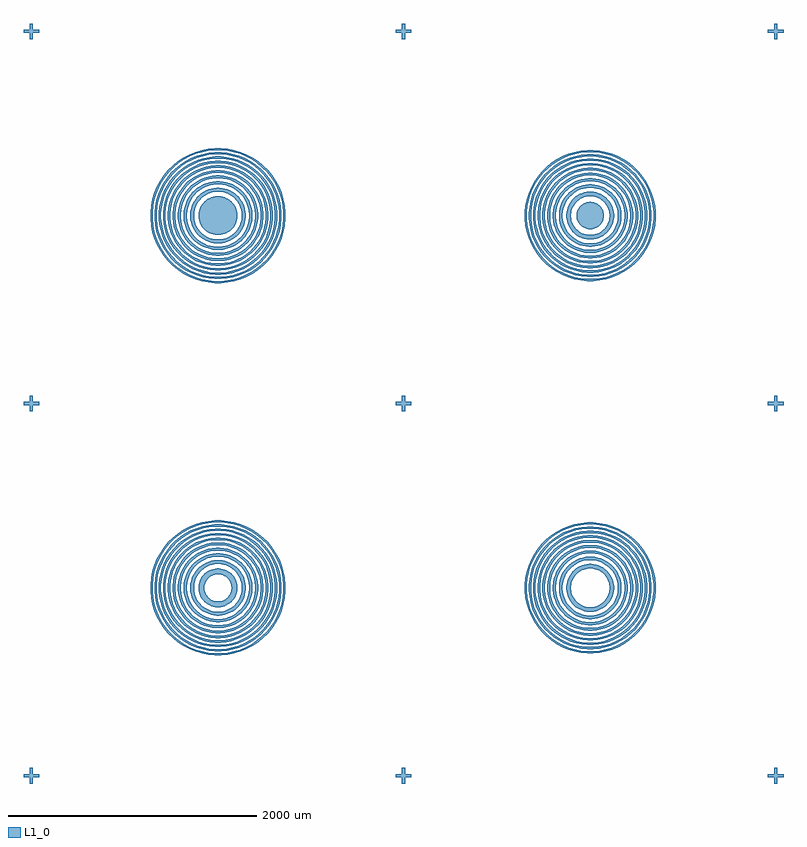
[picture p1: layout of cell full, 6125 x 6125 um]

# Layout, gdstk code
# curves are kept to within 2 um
import gdstk
lib = gdstk.Library(unit=1e-6, precision=1e-09)
def P(c, l, *ps):  # polygons
    for p in ps: c.add(gdstk.Polygon(p, *l))
L1_0 = (1, 0)

donut = lib.new_cell('DONUT')
P(donut, L1_0, [(-10.984,-223.589),(-54.393,-217.15),(-95.712,-202.366),(-133.352,-179.805),(-165.868,-150.334),(-192.01,-115.086),(-210.773,-75.416),(-221.436,-32.847),(-223.589,0),(-192.528,0),(-186.984,-46.837),(-165.336,-99.099),(-142.826,-129.45),(-99.099,-165.336),(-64.939,-181.492),(-28.284,-190.674),(28.284,-190.674),(64.939,-181.492),(114.827,-154.827),(142.826,-129.45),(165.336,-99.099),(186.984,-46.837),(192.528,-9.458),(186.984,46.837),(165.336,99.099),(142.826,129.45),(99.099,165.336),(46.837,186.984),(-9.458,192.528),(-64.939,181.492),(-114.827,154.827),(-154.827,114.827),(-181.492,64.939),(-190.674,28.284),(-192.528,0),(-223.589,0),(-223.589,10.984),(-217.15,54.393),(-202.366,95.712),(-179.805,133.352),(-150.334,165.868),(-115.086,192.01),(-75.416,210.773),(-32.847,221.436),(10.984,223.589),(54.393,217.15),(95.712,202.366),(133.352,179.805),(165.868,150.334),(192.01,115.086),(210.773,75.416),(221.436,32.847),(223.589,-10.984),(217.15,-54.393),(202.366,-95.712),(179.805,-133.352),(150.334,-165.868),(115.086,-192.01),(75.416,-210.773),(32.847,-221.436)])

donut_2 = lib.new_cell('DONUT$2')
P(donut_2, L1_0, [(-13.605,-276.94),(-67.372,-268.964),(-118.55,-250.652),(-165.172,-222.708),(-205.446,-186.205),(-237.825,-142.547),(-261.065,-93.411),(-274.272,-40.684),(-276.94,0),(-251.399,0),(-248.978,-36.932),(-236.989,-84.796),(-227.536,-107.617),(-202.169,-149.939),(-169.033,-186.499),(-129.401,-215.892),(-84.796,-236.989),(-36.932,-248.978),(-12.35,-251.399),(36.932,-248.978),(84.796,-236.989),(107.617,-227.536),(149.939,-202.169),(186.499,-169.033),(202.169,-149.939),(227.536,-107.617),(244.159,-61.159),(251.399,-12.35),(248.978,36.932),(244.159,61.159),(227.536,107.617),(202.169,149.939),(186.499,169.033),(169.033,186.499),(129.401,215.892),(84.796,236.989),(61.159,244.159),(36.932,248.978),(-12.35,251.399),(-36.932,248.978),(-84.796,236.989),(-107.617,227.536),(-149.939,202.169),(-186.499,169.033),(-215.892,129.401),(-236.989,84.796),(-248.978,36.932),(-251.399,0),(-276.94,0),(-276.94,13.605),(-268.964,67.372),(-250.652,118.55),(-222.708,165.172),(-186.205,205.446),(-142.547,237.825),(-93.411,261.065),(-40.684,274.272),(13.605,276.94),(67.372,268.964),(118.55,250.652),(165.172,222.708),(205.446,186.205),(237.825,142.547),(261.065,93.411),(274.272,40.684),(276.94,-13.605),(268.964,-67.372),(250.652,-118.55),(222.708,-165.172),(186.205,-205.446),(142.547,-237.825),(93.411,-261.065),(40.684,-274.272)])

donut_4 = lib.new_cell('DONUT$4')
P(donut_4, L1_0, [(-15.884,-323.322),(-78.656,-314.011),(-138.405,-292.632),(-192.835,-260.008),(-239.855,-217.392),(-277.657,-166.421),(-304.789,-109.055),(-320.209,-47.498),(-323.322,0),(-300.789,0),(-297.892,-44.188),(-292.127,-73.174),(-283.548,-101.455),(-258.307,-154.823),(-223.139,-202.241),(-179.396,-241.888),(-154.823,-258.307),(-101.455,-283.548),(-73.174,-292.127),(-14.777,-300.789),(44.188,-297.892),(101.455,-283.548),(154.823,-258.307),(179.396,-241.888),(223.139,-202.241),(258.307,-154.823),(283.548,-101.455),(292.127,-73.174),(300.789,-14.777),(300.789,14.777),(292.127,73.174),(283.548,101.455),(258.307,154.823),(223.139,202.241),(179.396,241.888),(154.823,258.307),(101.455,283.548),(73.174,292.127),(14.777,300.789),(-14.777,300.789),(-73.174,292.127),(-101.455,283.548),(-154.823,258.307),(-179.396,241.888),(-223.139,202.241),(-258.307,154.823),(-283.548,101.455),(-297.892,44.188),(-300.789,0),(-323.322,0),(-323.322,15.884),(-314.011,78.656),(-292.632,138.405),(-260.008,192.835),(-217.392,239.855),(-166.421,277.657),(-109.055,304.789),(-47.498,320.209),(15.884,323.322),(78.656,314.011),(138.405,292.632),(192.835,260.008),(239.855,217.392),(277.657,166.421),(304.789,109.055),(320.209,47.498),(323.322,-15.884),(314.011,-78.656),(292.632,-138.405),(260.008,-192.835),(217.392,-239.855),(166.421,-277.657),(109.055,-304.789),(47.498,-320.209)])

donut_7 = lib.new_cell('DONUT$7')
P(donut_7, L1_0, [(-17.951,-365.401),(-88.892,-354.877),(-156.417,-330.717),(-217.931,-293.846),(-271.071,-245.684),(-313.793,-188.08),(-344.456,-123.248),(-361.882,-53.68),(-365.401,0),(-344.797,0),(-341.477,-50.653),(-334.868,-83.88),(-312.069,-147.598),(-296.099,-177.475),(-255.786,-231.831),(-205.643,-277.278),(-147.598,-312.069),(-83.88,-334.868),(-50.653,-341.477),(-16.939,-344.797),(50.653,-341.477),(116.299,-325.033),(147.598,-312.069),(205.643,-277.278),(255.786,-231.831),(277.278,-205.643),(312.069,-147.598),(334.868,-83.88),(344.797,-16.939),(341.477,50.653),(334.868,83.88),(312.069,147.598),(277.278,205.643),(255.786,231.831),(205.643,277.278),(177.475,296.099),(147.598,312.069),(83.88,334.868),(50.653,341.477),(-16.939,344.797),(-83.88,334.868),(-116.299,325.033),(-147.598,312.069),(-205.643,277.278),(-231.831,255.786),(-277.278,205.643),(-312.069,147.598),(-325.033,116.299),(-341.477,50.653),(-344.797,0),(-365.401,0),(-365.401,17.951),(-354.877,88.892),(-330.717,156.417),(-293.846,217.931),(-245.684,271.071),(-188.08,313.793),(-123.248,344.456),(-53.68,361.882),(17.951,365.401),(88.892,354.877),(156.417,330.717),(217.931,293.846),(271.071,245.684),(313.793,188.08),(344.456,123.248),(361.882,53.68),(365.401,-17.951),(354.877,-88.892),(330.717,-156.417),(293.846,-217.931),(245.684,-271.071),(188.08,-313.793),(123.248,-344.456),(53.68,-361.882)])

donut_6 = lib.new_cell('DONUT$6')
P(donut_6, L1_0, [(-19.873,-404.52),(-59.427,-400.624),(-98.409,-392.87),(-136.443,-381.333),(-173.163,-366.123),(-208.216,-347.387),(-241.263,-325.305),(-271.987,-300.091),(-300.091,-271.987),(-325.305,-241.263),(-347.387,-208.216),(-366.123,-173.163),(-381.333,-136.443),(-392.87,-98.409),(-400.624,-59.427),(-404.52,0),(-385.272,0),(-381.562,-56.599),(-374.177,-93.726),(-348.702,-164.924),(-330.858,-198.308),(-285.812,-259.045),(-229.783,-309.827),(-164.924,-348.702),(-93.726,-374.177),(-56.599,-381.562),(-18.927,-385.272),(56.599,-381.562),(129.951,-363.188),(198.308,-330.858),(229.783,-309.827),(285.812,-259.045),(330.858,-198.308),(348.702,-164.924),(374.177,-93.726),(385.272,-18.927),(381.562,56.599),(374.177,93.726),(348.702,164.924),(330.858,198.308),(285.812,259.045),(229.783,309.827),(198.308,330.858),(164.924,348.702),(93.726,374.177),(56.599,381.562),(-18.927,385.272),(-93.726,374.177),(-129.951,363.188),(-198.308,330.858),(-229.783,309.827),(-259.045,285.812),(-309.827,229.783),(-330.858,198.308),(-363.188,129.951),(-381.562,56.599),(-385.272,0),(-404.52,0),(-404.52,19.873),(-400.624,59.427),(-392.87,98.409),(-381.333,136.443),(-366.123,173.163),(-347.387,208.216),(-325.305,241.263),(-300.091,271.987),(-271.987,300.091),(-241.263,325.305),(-208.216,347.387),(-173.163,366.123),(-136.443,381.333),(-98.409,392.87),(-59.427,400.624),(-19.873,404.52),(19.873,404.52),(59.427,400.624),(98.409,392.87),(136.443,381.333),(173.163,366.123),(208.216,347.387),(241.263,325.305),(271.987,300.091),(300.091,271.987),(325.305,241.263),(347.387,208.216),(366.123,173.163),(381.333,136.443),(392.87,98.409),(400.624,59.427),(404.52,19.873),(404.52,-19.873),(400.624,-59.427),(392.87,-98.409),(381.333,-136.443),(366.123,-173.163),(347.387,-208.216),(325.305,-241.263),(300.091,-271.987),(271.987,-300.091),(241.263,-325.305),(208.216,-347.387),(173.163,-366.123),(136.443,-381.333),(98.409,-392.87),(59.427,-400.624),(19.873,-404.52)])

donut_8 = lib.new_cell('DONUT$8')
P(donut_8, L1_0, [(-21.688,-441.467),(-64.855,-437.216),(-107.397,-428.753),(-148.905,-416.162),(-188.979,-399.563),(-227.233,-379.116),(-263.299,-355.017),(-296.829,-327.5),(-327.5,-296.829),(-355.017,-263.299),(-379.116,-227.233),(-399.563,-188.979),(-416.162,-148.905),(-428.753,-107.397),(-437.216,-64.855),(-441.467,0),(-423.229,0),(-419.153,-62.175),(-411.04,-102.96),(-398.969,-142.753),(-383.056,-181.172),(-363.453,-217.845),(-340.35,-252.421),(-313.97,-284.566),(-284.566,-313.97),(-252.421,-340.35),(-217.845,-363.453),(-181.172,-383.056),(-142.753,-398.969),(-102.96,-411.04),(-62.175,-419.153),(-20.792,-423.229),(20.792,-423.229),(62.175,-419.153),(102.96,-411.04),(142.753,-398.969),(181.172,-383.056),(217.845,-363.453),(252.421,-340.35),(284.566,-313.97),(313.97,-284.566),(340.35,-252.421),(363.453,-217.845),(383.056,-181.172),(398.969,-142.753),(411.04,-102.96),(419.153,-62.175),(423.229,-20.792),(423.229,20.792),(419.153,62.175),(411.04,102.96),(398.969,142.753),(383.056,181.172),(363.453,217.845),(340.35,252.421),(313.97,284.566),(284.566,313.97),(252.421,340.35),(217.845,363.453),(181.172,383.056),(142.753,398.969),(102.96,411.04),(62.175,419.153),(20.792,423.229),(-20.792,423.229),(-62.175,419.153),(-102.96,411.04),(-142.753,398.969),(-181.172,383.056),(-217.845,363.453),(-252.421,340.35),(-284.566,313.97),(-313.97,284.566),(-340.35,252.421),(-363.453,217.845),(-383.056,181.172),(-398.969,142.753),(-411.04,102.96),(-419.153,62.175),(-423.229,0),(-441.467,0),(-441.467,21.688),(-437.216,64.855),(-428.753,107.397),(-416.162,148.905),(-399.563,188.979),(-379.116,227.233),(-355.017,263.299),(-327.5,296.829),(-296.829,327.5),(-263.299,355.017),(-227.233,379.116),(-188.979,399.563),(-148.905,416.162),(-107.397,428.753),(-64.855,437.216),(-21.688,441.467),(21.688,441.467),(64.855,437.216),(107.397,428.753),(148.905,416.162),(188.979,399.563),(227.233,379.116),(263.299,355.017),(296.829,327.5),(327.5,296.829),(355.017,263.299),(379.116,227.233),(399.563,188.979),(416.162,148.905),(428.753,107.397),(437.216,64.855),(441.467,21.688),(441.467,-21.688),(437.216,-64.855),(428.753,-107.397),(416.162,-148.905),(399.563,-188.979),(379.116,-227.233),(355.017,-263.299),(327.5,-296.829),(296.829,-327.5),(263.299,-355.017),(227.233,-379.116),(188.979,-399.563),(148.905,-416.162),(107.397,-428.753),(64.855,-437.216),(21.688,-441.467)])

donut_10 = lib.new_cell('DONUT$10')
P(donut_10, L1_0, [(-23.421,-476.748),(-70.038,-472.157),(-115.98,-463.018),(-160.805,-449.421),(-204.082,-431.495),(-245.393,-409.414),(-284.341,-383.389),(-320.551,-353.673),(-353.673,-320.551),(-383.389,-284.341),(-409.414,-245.393),(-431.495,-204.082),(-449.421,-160.805),(-463.018,-115.98),(-472.157,-70.038),(-476.748,0),(-459.292,0),(-454.868,-67.473),(-446.064,-111.733),(-432.965,-154.917),(-415.695,-196.609),(-394.423,-236.408),(-369.351,-273.93),(-340.723,-308.813),(-308.813,-340.723),(-273.93,-369.351),(-236.408,-394.423),(-196.609,-415.695),(-154.917,-432.965),(-111.733,-446.064),(-67.473,-454.868),(-22.564,-459.292),(22.564,-459.292),(67.473,-454.868),(111.733,-446.064),(154.917,-432.965),(196.609,-415.695),(236.408,-394.423),(273.93,-369.351),(308.813,-340.723),(340.723,-308.813),(369.351,-273.93),(394.423,-236.408),(415.695,-196.609),(432.965,-154.917),(446.064,-111.733),(454.868,-67.473),(459.292,-22.564),(459.292,22.564),(454.868,67.473),(446.064,111.733),(432.965,154.917),(415.695,196.609),(394.423,236.408),(369.351,273.93),(340.723,308.813),(308.813,340.723),(273.93,369.351),(236.408,394.423),(196.609,415.695),(154.917,432.965),(111.733,446.064),(67.473,454.868),(22.564,459.292),(-22.564,459.292),(-67.473,454.868),(-111.733,446.064),(-154.917,432.965),(-196.609,415.695),(-236.408,394.423),(-273.93,369.351),(-308.813,340.723),(-340.723,308.813),(-369.351,273.93),(-394.423,236.408),(-415.695,196.609),(-432.965,154.917),(-446.064,111.733),(-454.868,67.473),(-459.292,0),(-476.748,0),(-476.748,23.421),(-472.157,70.038),(-463.018,115.98),(-449.421,160.805),(-431.495,204.082),(-409.414,245.393),(-383.389,284.341),(-353.673,320.551),(-320.551,353.673),(-284.341,383.389),(-245.393,409.414),(-204.082,431.495),(-160.805,449.421),(-115.98,463.018),(-70.038,472.157),(-23.421,476.748),(23.421,476.748),(70.038,472.157),(115.98,463.018),(160.805,449.421),(204.082,431.495),(245.393,409.414),(284.341,383.389),(320.551,353.673),(353.673,320.551),(383.389,284.341),(409.414,245.393),(431.495,204.082),(449.421,160.805),(463.018,115.98),(472.157,70.038),(476.748,23.421),(476.748,-23.421),(472.157,-70.038),(463.018,-115.98),(449.421,-160.805),(431.495,-204.082),(409.414,-245.393),(383.389,-284.341),(353.673,-320.551),(320.551,-353.673),(284.341,-383.389),(245.393,-409.414),(204.082,-431.495),(160.805,-449.421),(115.98,-463.018),(70.038,-472.157),(23.421,-476.748)])

donut_13 = lib.new_cell('DONUT$13')
P(donut_13, L1_0, [(-25.089,-510.708),(-75.027,-505.789),(-124.242,-496),(-172.26,-481.434),(-218.619,-462.231),(-262.873,-438.577),(-304.595,-410.699),(-343.384,-378.866),(-378.866,-343.384),(-410.699,-304.595),(-438.577,-262.873),(-462.231,-218.619),(-481.434,-172.26),(-496,-124.242),(-505.789,-75.027),(-510.708,0),(-493.876,0),(-489.119,-72.554),(-479.653,-120.147),(-465.567,-166.582),(-446.997,-211.414),(-424.122,-254.209),(-397.163,-294.556),(-366.379,-332.067),(-332.067,-366.379),(-294.556,-397.163),(-254.209,-424.122),(-211.414,-446.997),(-166.582,-465.567),(-120.147,-479.653),(-72.554,-489.119),(-24.263,-493.876),(24.263,-493.876),(72.554,-489.119),(120.147,-479.653),(166.582,-465.567),(211.414,-446.997),(254.209,-424.122),(294.556,-397.163),(332.067,-366.379),(366.379,-332.067),(397.163,-294.556),(424.122,-254.209),(446.997,-211.414),(465.567,-166.582),(479.653,-120.147),(489.119,-72.554),(493.876,-24.263),(493.876,24.263),(489.119,72.554),(479.653,120.147),(465.567,166.582),(446.997,211.414),(424.122,254.209),(397.163,294.556),(366.379,332.067),(332.067,366.379),(294.556,397.163),(254.209,424.122),(211.414,446.997),(166.582,465.567),(120.147,479.653),(72.554,489.119),(24.263,493.876),(-24.263,493.876),(-72.554,489.119),(-120.147,479.653),(-166.582,465.567),(-211.414,446.997),(-254.209,424.122),(-294.556,397.163),(-332.067,366.379),(-366.379,332.067),(-397.163,294.556),(-424.122,254.209),(-446.997,211.414),(-465.567,166.582),(-479.653,120.147),(-489.119,72.554),(-493.876,0),(-510.708,0),(-510.708,25.089),(-505.789,75.027),(-496,124.242),(-481.434,172.26),(-462.231,218.619),(-438.577,262.873),(-410.699,304.595),(-378.866,343.384),(-343.384,378.866),(-304.595,410.699),(-262.873,438.577),(-218.619,462.231),(-172.26,481.434),(-124.242,496),(-75.027,505.789),(-25.089,510.708),(25.089,510.708),(75.027,505.789),(124.242,496),(172.26,481.434),(218.619,462.231),(262.873,438.577),(304.595,410.699),(343.384,378.866),(378.866,343.384),(410.699,304.595),(438.577,262.873),(462.231,218.619),(481.434,172.26),(496,124.242),(505.789,75.027),(510.708,25.089),(510.708,-25.089),(505.789,-75.027),(496,-124.242),(481.434,-172.26),(462.231,-218.619),(438.577,-262.873),(410.699,-304.595),(378.866,-343.384),(343.384,-378.866),(304.595,-410.699),(262.873,-438.577),(218.619,-462.231),(172.26,-481.434),(124.242,-496),(75.027,-505.789),(25.089,-510.708)])

donut_14 = lib.new_cell('DONUT$14')
P(donut_14, L1_0, [(-26.705,-543.594),(-79.858,-538.359),(-132.242,-527.939),(-183.352,-512.435),(-232.697,-491.996),(-279.8,-466.819),(-324.209,-437.145),(-365.496,-403.262),(-403.262,-365.496),(-437.145,-324.209),(-466.819,-279.8),(-491.996,-232.697),(-512.435,-183.352),(-527.939,-132.242),(-538.359,-79.858),(-543.594,-26.705),(-543.594,0),(-527.272,0),(-527.272,-25.903),(-522.194,-77.46),(-512.088,-128.271),(-497.049,-177.847),(-477.223,-225.71),(-452.802,-271.399),(-424.02,-314.475),(-391.154,-354.522),(-354.522,-391.154),(-314.475,-424.02),(-271.399,-452.802),(-225.71,-477.223),(-177.847,-497.049),(-128.271,-512.088),(-77.46,-522.194),(-25.903,-527.272),(25.903,-527.272),(77.46,-522.194),(128.271,-512.088),(177.847,-497.049),(225.71,-477.223),(271.399,-452.802),(314.475,-424.02),(354.522,-391.154),(391.154,-354.522),(424.02,-314.475),(452.802,-271.399),(477.223,-225.71),(497.049,-177.847),(512.088,-128.271),(522.194,-77.46),(527.272,-25.903),(527.272,25.903),(522.194,77.46),(512.088,128.271),(497.049,177.847),(477.223,225.71),(452.802,271.399),(424.02,314.475),(391.154,354.522),(354.522,391.154),(314.475,424.02),(271.399,452.802),(225.71,477.223),(177.847,497.049),(128.271,512.088),(77.46,522.194),(25.903,527.272),(-25.903,527.272),(-77.46,522.194),(-128.271,512.088),(-177.847,497.049),(-225.71,477.223),(-271.399,452.802),(-314.475,424.02),(-354.522,391.154),(-391.154,354.522),(-424.02,314.475),(-452.802,271.399),(-477.223,225.71),(-497.049,177.847),(-512.088,128.271),(-522.194,77.46),(-527.272,25.903),(-527.272,0),(-543.594,0),(-543.594,26.705),(-538.359,79.858),(-527.939,132.242),(-512.435,183.352),(-491.996,232.697),(-466.819,279.8),(-437.145,324.209),(-403.262,365.496),(-365.496,403.262),(-324.209,437.145),(-279.8,466.819),(-232.697,491.996),(-183.352,512.435),(-132.242,527.939),(-79.858,538.359),(-26.705,543.594),(26.705,543.594),(79.858,538.359),(132.242,527.939),(183.352,512.435),(232.697,491.996),(279.8,466.819),(324.209,437.145),(365.496,403.262),(403.262,365.496),(437.145,324.209),(466.819,279.8),(491.996,232.697),(512.435,183.352),(527.939,132.242),(538.359,79.858),(543.594,26.705),(543.594,-26.705),(538.359,-79.858),(527.939,-132.242),(512.435,-183.352),(491.996,-232.697),(466.819,-279.8),(437.145,-324.209),(403.262,-365.496),(365.496,-403.262),(324.209,-437.145),(279.8,-466.819),(232.697,-491.996),(183.352,-512.435),(132.242,-527.939),(79.858,-538.359),(26.705,-543.594)])

circle = lib.new_cell('CIRCLE')
P(circle, L1_0, [(-7.678,-156.291),(-38.021,-151.79),(-66.903,-141.456),(-93.215,-125.685),(-115.943,-105.085),(-134.217,-80.446),(-147.332,-52.716),(-154.786,-22.96),(-156.291,7.678),(-151.79,38.021),(-141.456,66.903),(-125.685,93.215),(-105.085,115.943),(-80.446,134.217),(-52.716,147.332),(-22.96,154.786),(7.678,156.291),(38.021,151.79),(66.903,141.456),(93.215,125.685),(115.943,105.085),(134.217,80.446),(147.332,52.716),(154.786,22.96),(156.291,-7.678),(151.79,-38.021),(141.456,-66.903),(125.685,-93.215),(105.085,-115.943),(80.446,-134.217),(52.716,-147.332),(22.96,-154.786)])

circle1 = lib.new_cell('circle1')
circle1.add(gdstk.Reference(donut, (0,0)))
circle1.add(gdstk.Reference(donut_2, (0,0)))
circle1.add(gdstk.Reference(donut_4, (0,0)))
circle1.add(gdstk.Reference(donut_7, (0,0)))
circle1.add(gdstk.Reference(donut_6, (0,0)))
circle1.add(gdstk.Reference(donut_8, (0,0)))
circle1.add(gdstk.Reference(donut_10, (0,0)))
circle1.add(gdstk.Reference(donut_13, (0,0)))
circle1.add(gdstk.Reference(donut_14, (0,0)))
circle1.add(gdstk.Reference(circle, (0,0)))

donut_12 = lib.new_cell('DONUT$12')
P(donut_12, L1_0, [(-9.458,-192.528),(-46.837,-186.984),(-82.416,-174.253),(-114.827,-154.827),(-142.826,-129.45),(-165.336,-99.099),(-181.492,-64.939),(-190.674,-28.284),(-192.528,0),(-156.291,0),(-151.79,-38.021),(-134.217,-80.446),(-115.943,-105.085),(-80.446,-134.217),(-52.716,-147.332),(-22.96,-154.786),(22.96,-154.786),(52.716,-147.332),(80.446,-134.217),(115.943,-105.085),(141.456,-66.903),(151.79,-38.021),(156.291,-7.678),(151.79,38.021),(141.456,66.903),(115.943,105.085),(80.446,134.217),(38.021,151.79),(-7.678,156.291),(-52.716,147.332),(-93.215,125.685),(-125.685,93.215),(-147.332,52.716),(-154.786,22.96),(-156.291,0),(-192.528,0),(-192.528,9.458),(-186.984,46.837),(-174.253,82.416),(-154.827,114.827),(-129.45,142.826),(-99.099,165.336),(-64.939,181.492),(-28.284,190.674),(9.458,192.528),(46.837,186.984),(82.416,174.253),(114.827,154.827),(142.826,129.45),(165.336,99.099),(181.492,64.939),(190.674,28.284),(192.528,-9.458),(186.984,-46.837),(174.253,-82.416),(154.827,-114.827),(129.45,-142.826),(99.099,-165.336),(64.939,-181.492),(28.284,-190.674)])

donut_16 = lib.new_cell('DONUT$16')
P(donut_16, L1_0, [(-12.35,-251.399),(-61.159,-244.159),(-107.617,-227.536),(-149.939,-202.169),(-186.499,-169.033),(-215.892,-129.401),(-236.989,-84.796),(-248.978,-36.932),(-251.399,0),(-223.589,0),(-217.15,-54.393),(-210.773,-75.416),(-192.01,-115.086),(-165.868,-150.334),(-133.352,-179.805),(-115.086,-192.01),(-75.416,-210.773),(-32.847,-221.436),(-10.984,-223.589),(32.847,-221.436),(75.416,-210.773),(95.712,-202.366),(133.352,-179.805),(165.868,-150.334),(179.805,-133.352),(202.366,-95.712),(217.15,-54.393),(223.589,-10.984),(221.436,32.847),(217.15,54.393),(202.366,95.712),(179.805,133.352),(165.868,150.334),(133.352,179.805),(115.086,192.01),(75.416,210.773),(54.393,217.15),(32.847,221.436),(-10.984,223.589),(-32.847,221.436),(-75.416,210.773),(-95.712,202.366),(-133.352,179.805),(-150.334,165.868),(-179.805,133.352),(-202.366,95.712),(-210.773,75.416),(-221.436,32.847),(-223.589,0),(-251.399,0),(-251.399,12.35),(-244.159,61.159),(-227.536,107.617),(-202.169,149.939),(-169.033,186.499),(-129.401,215.892),(-84.796,236.989),(-36.932,248.978),(12.35,251.399),(61.159,244.159),(107.617,227.536),(149.939,202.169),(186.499,169.033),(215.892,129.401),(236.989,84.796),(248.978,36.932),(251.399,-12.35),(244.159,-61.159),(227.536,-107.617),(202.169,-149.939),(169.033,-186.499),(129.401,-215.892),(84.796,-236.989),(36.932,-248.978)])

donut_18 = lib.new_cell('DONUT$18')
P(donut_18, L1_0, [(-14.777,-300.789),(-73.174,-292.127),(-128.759,-272.238),(-179.396,-241.888),(-223.139,-202.241),(-258.307,-154.823),(-283.548,-101.455),(-297.892,-44.188),(-300.789,0),(-276.94,0),(-274.272,-40.684),(-268.964,-67.372),(-250.652,-118.55),(-237.825,-142.547),(-205.446,-186.205),(-165.172,-222.708),(-142.547,-237.825),(-93.411,-261.065),(-67.372,-268.964),(-13.605,-276.94),(40.684,-274.272),(93.411,-261.065),(118.55,-250.652),(165.172,-222.708),(205.446,-186.205),(222.708,-165.172),(250.652,-118.55),(268.964,-67.372),(276.94,-13.605),(276.94,13.605),(268.964,67.372),(250.652,118.55),(222.708,165.172),(205.446,186.205),(165.172,222.708),(142.547,237.825),(118.55,250.652),(67.372,268.964),(13.605,276.94),(-13.605,276.94),(-67.372,268.964),(-93.411,261.065),(-118.55,250.652),(-165.172,222.708),(-205.446,186.205),(-237.825,142.547),(-261.065,93.411),(-274.272,40.684),(-276.94,0),(-300.789,0),(-300.789,14.777),(-292.127,73.174),(-272.238,128.759),(-241.888,179.396),(-202.241,223.139),(-154.823,258.307),(-101.455,283.548),(-44.188,297.892),(14.777,300.789),(73.174,292.127),(128.759,272.238),(179.396,241.888),(223.139,202.241),(258.307,154.823),(283.548,101.455),(297.892,44.188),(300.789,-14.777),(292.127,-73.174),(272.238,-128.759),(241.888,-179.396),(202.241,-223.139),(154.823,-258.307),(101.455,-283.548),(44.188,-297.892)])

donut_20 = lib.new_cell('DONUT$20')
P(donut_20, L1_0, [(-16.939,-344.797),(-83.88,-334.868),(-147.598,-312.069),(-205.643,-277.278),(-255.786,-231.831),(-296.099,-177.475),(-325.033,-116.299),(-341.477,-50.653),(-344.797,0),(-323.322,0),(-320.209,-47.498),(-314.011,-78.656),(-292.632,-138.405),(-277.657,-166.421),(-239.855,-217.392),(-192.835,-260.008),(-138.405,-292.632),(-78.656,-314.011),(-47.498,-320.209),(-15.884,-323.322),(47.498,-320.209),(109.055,-304.789),(138.405,-292.632),(192.835,-260.008),(239.855,-217.392),(260.008,-192.835),(292.632,-138.405),(314.011,-78.656),(323.322,-15.884),(320.209,47.498),(314.011,78.656),(292.632,138.405),(260.008,192.835),(239.855,217.392),(217.392,239.855),(166.421,277.657),(138.405,292.632),(78.656,314.011),(47.498,320.209),(-15.884,323.322),(-47.498,320.209),(-109.055,304.789),(-138.405,292.632),(-192.835,260.008),(-217.392,239.855),(-260.008,192.835),(-292.632,138.405),(-304.789,109.055),(-320.209,47.498),(-323.322,0),(-344.797,0),(-344.797,16.939),(-334.868,83.88),(-312.069,147.598),(-277.278,205.643),(-231.831,255.786),(-177.475,296.099),(-116.299,325.033),(-50.653,341.477),(16.939,344.797),(83.88,334.868),(147.598,312.069),(205.643,277.278),(255.786,231.831),(296.099,177.475),(325.033,116.299),(341.477,50.653),(344.797,-16.939),(334.868,-83.88),(312.069,-147.598),(277.278,-205.643),(231.831,-255.786),(177.475,-296.099),(116.299,-325.033),(50.653,-341.477)])

donut_22 = lib.new_cell('DONUT$22')
P(donut_22, L1_0, [(-18.927,-385.272),(-93.726,-374.177),(-164.924,-348.702),(-229.783,-309.827),(-285.812,-259.045),(-330.858,-198.308),(-363.188,-129.951),(-381.562,-56.599),(-385.272,0),(-365.401,0),(-361.882,-53.68),(-354.877,-88.892),(-344.456,-123.248),(-313.793,-188.08),(-271.071,-245.684),(-217.931,-293.846),(-156.417,-330.717),(-123.248,-344.456),(-53.68,-361.882),(-17.951,-365.401),(53.68,-361.882),(123.248,-344.456),(188.08,-313.793),(245.684,-271.071),(271.071,-245.684),(313.793,-188.08),(344.456,-123.248),(354.877,-88.892),(365.401,-17.951),(361.882,53.68),(354.877,88.892),(344.456,123.248),(313.793,188.08),(271.071,245.684),(245.684,271.071),(188.08,313.793),(123.248,344.456),(88.892,354.877),(53.68,361.882),(-17.951,365.401),(-53.68,361.882),(-123.248,344.456),(-188.08,313.793),(-217.931,293.846),(-245.684,271.071),(-293.846,217.931),(-313.793,188.08),(-344.456,123.248),(-361.882,53.68),(-365.401,0),(-385.272,0),(-385.272,18.927),(-374.177,93.726),(-348.702,164.924),(-309.827,229.783),(-259.045,285.812),(-198.308,330.858),(-129.951,363.188),(-56.599,381.562),(18.927,385.272),(93.726,374.177),(164.924,348.702),(229.783,309.827),(285.812,259.045),(330.858,198.308),(363.188,129.951),(381.562,56.599),(385.272,-18.927),(374.177,-93.726),(348.702,-164.924),(309.827,-229.783),(259.045,-285.812),(198.308,-330.858),(129.951,-363.188),(56.599,-381.562)])

donut_24 = lib.new_cell('DONUT$24')
P(donut_24, L1_0, [(-20.792,-423.229),(-62.175,-419.153),(-102.96,-411.04),(-142.753,-398.969),(-181.172,-383.056),(-217.845,-363.453),(-252.421,-340.35),(-284.566,-313.97),(-313.97,-284.566),(-340.35,-252.421),(-363.453,-217.845),(-383.056,-181.172),(-398.969,-142.753),(-411.04,-102.96),(-419.153,-62.175),(-423.229,0),(-404.52,0),(-400.624,-59.427),(-392.87,-98.409),(-381.333,-136.443),(-366.123,-173.163),(-347.387,-208.216),(-325.305,-241.263),(-300.091,-271.987),(-271.987,-300.091),(-241.263,-325.305),(-208.216,-347.387),(-173.163,-366.123),(-136.443,-381.333),(-98.409,-392.87),(-59.427,-400.624),(-19.873,-404.52),(19.873,-404.52),(59.427,-400.624),(98.409,-392.87),(136.443,-381.333),(173.163,-366.123),(208.216,-347.387),(241.263,-325.305),(271.987,-300.091),(300.091,-271.987),(325.305,-241.263),(347.387,-208.216),(366.123,-173.163),(381.333,-136.443),(392.87,-98.409),(400.624,-59.427),(404.52,-19.873),(404.52,19.873),(400.624,59.427),(392.87,98.409),(381.333,136.443),(366.123,173.163),(347.387,208.216),(325.305,241.263),(300.091,271.987),(271.987,300.091),(241.263,325.305),(208.216,347.387),(173.163,366.123),(136.443,381.333),(98.409,392.87),(59.427,400.624),(19.873,404.52),(-19.873,404.52),(-59.427,400.624),(-98.409,392.87),(-136.443,381.333),(-173.163,366.123),(-208.216,347.387),(-241.263,325.305),(-271.987,300.091),(-300.091,271.987),(-325.305,241.263),(-347.387,208.216),(-366.123,173.163),(-381.333,136.443),(-392.87,98.409),(-400.624,59.427),(-404.52,0),(-423.229,0),(-423.229,20.792),(-419.153,62.175),(-411.04,102.96),(-398.969,142.753),(-383.056,181.172),(-363.453,217.845),(-340.35,252.421),(-313.97,284.566),(-284.566,313.97),(-252.421,340.35),(-217.845,363.453),(-181.172,383.056),(-142.753,398.969),(-102.96,411.04),(-62.175,419.153),(-20.792,423.229),(20.792,423.229),(62.175,419.153),(102.96,411.04),(142.753,398.969),(181.172,383.056),(217.845,363.453),(252.421,340.35),(284.566,313.97),(313.97,284.566),(340.35,252.421),(363.453,217.845),(383.056,181.172),(398.969,142.753),(411.04,102.96),(419.153,62.175),(423.229,20.792),(423.229,-20.792),(419.153,-62.175),(411.04,-102.96),(398.969,-142.753),(383.056,-181.172),(363.453,-217.845),(340.35,-252.421),(313.97,-284.566),(284.566,-313.97),(252.421,-340.35),(217.845,-363.453),(181.172,-383.056),(142.753,-398.969),(102.96,-411.04),(62.175,-419.153),(20.792,-423.229)])

donut_26 = lib.new_cell('DONUT$26')
P(donut_26, L1_0, [(-22.564,-459.292),(-67.473,-454.868),(-111.733,-446.064),(-154.917,-432.965),(-196.609,-415.695),(-236.408,-394.423),(-273.93,-369.351),(-308.813,-340.723),(-340.723,-308.813),(-369.351,-273.93),(-394.423,-236.408),(-415.695,-196.609),(-432.965,-154.917),(-446.064,-111.733),(-454.868,-67.473),(-459.292,0),(-441.467,0),(-437.216,-64.855),(-428.753,-107.397),(-416.162,-148.905),(-399.563,-188.979),(-379.116,-227.233),(-355.017,-263.299),(-327.5,-296.829),(-296.829,-327.5),(-263.299,-355.017),(-227.233,-379.116),(-188.979,-399.563),(-148.905,-416.162),(-107.397,-428.753),(-64.855,-437.216),(-21.688,-441.467),(21.688,-441.467),(64.855,-437.216),(107.397,-428.753),(148.905,-416.162),(188.979,-399.563),(227.233,-379.116),(263.299,-355.017),(296.829,-327.5),(327.5,-296.829),(355.017,-263.299),(379.116,-227.233),(399.563,-188.979),(416.162,-148.905),(428.753,-107.397),(437.216,-64.855),(441.467,-21.688),(441.467,21.688),(437.216,64.855),(428.753,107.397),(416.162,148.905),(399.563,188.979),(379.116,227.233),(355.017,263.299),(327.5,296.829),(296.829,327.5),(263.299,355.017),(227.233,379.116),(188.979,399.563),(148.905,416.162),(107.397,428.753),(64.855,437.216),(21.688,441.467),(-21.688,441.467),(-64.855,437.216),(-107.397,428.753),(-148.905,416.162),(-188.979,399.563),(-227.233,379.116),(-263.299,355.017),(-296.829,327.5),(-327.5,296.829),(-355.017,263.299),(-379.116,227.233),(-399.563,188.979),(-416.162,148.905),(-428.753,107.397),(-437.216,64.855),(-441.467,0),(-459.292,0),(-459.292,22.564),(-454.868,67.473),(-446.064,111.733),(-432.965,154.917),(-415.695,196.609),(-394.423,236.408),(-369.351,273.93),(-340.723,308.813),(-308.813,340.723),(-273.93,369.351),(-236.408,394.423),(-196.609,415.695),(-154.917,432.965),(-111.733,446.064),(-67.473,454.868),(-22.564,459.292),(22.564,459.292),(67.473,454.868),(111.733,446.064),(154.917,432.965),(196.609,415.695),(236.408,394.423),(273.93,369.351),(308.813,340.723),(340.723,308.813),(369.351,273.93),(394.423,236.408),(415.695,196.609),(432.965,154.917),(446.064,111.733),(454.868,67.473),(459.292,22.564),(459.292,-22.564),(454.868,-67.473),(446.064,-111.733),(432.965,-154.917),(415.695,-196.609),(394.423,-236.408),(369.351,-273.93),(340.723,-308.813),(308.813,-340.723),(273.93,-369.351),(236.408,-394.423),(196.609,-415.695),(154.917,-432.965),(111.733,-446.064),(67.473,-454.868),(22.564,-459.292)])

donut_28 = lib.new_cell('DONUT$28')
P(donut_28, L1_0, [(-24.263,-493.876),(-72.554,-489.119),(-120.147,-479.653),(-166.582,-465.567),(-211.414,-446.997),(-254.209,-424.122),(-294.556,-397.163),(-332.067,-366.379),(-366.379,-332.067),(-397.163,-294.556),(-424.122,-254.209),(-446.997,-211.414),(-465.567,-166.582),(-479.653,-120.147),(-489.119,-72.554),(-493.876,0),(-476.748,0),(-472.157,-70.038),(-463.018,-115.98),(-449.421,-160.805),(-431.495,-204.082),(-409.414,-245.393),(-383.389,-284.341),(-353.673,-320.551),(-320.551,-353.673),(-284.341,-383.389),(-245.393,-409.414),(-204.082,-431.495),(-160.805,-449.421),(-115.98,-463.018),(-70.038,-472.157),(-23.421,-476.748),(23.421,-476.748),(70.038,-472.157),(115.98,-463.018),(160.805,-449.421),(204.082,-431.495),(245.393,-409.414),(284.341,-383.389),(320.551,-353.673),(353.673,-320.551),(383.389,-284.341),(409.414,-245.393),(431.495,-204.082),(449.421,-160.805),(463.018,-115.98),(472.157,-70.038),(476.748,-23.421),(476.748,23.421),(472.157,70.038),(463.018,115.98),(449.421,160.805),(431.495,204.082),(409.414,245.393),(383.389,284.341),(353.673,320.551),(320.551,353.673),(284.341,383.389),(245.393,409.414),(204.082,431.495),(160.805,449.421),(115.98,463.018),(70.038,472.157),(23.421,476.748),(-23.421,476.748),(-70.038,472.157),(-115.98,463.018),(-160.805,449.421),(-204.082,431.495),(-245.393,409.414),(-284.341,383.389),(-320.551,353.673),(-353.673,320.551),(-383.389,284.341),(-409.414,245.393),(-431.495,204.082),(-449.421,160.805),(-463.018,115.98),(-472.157,70.038),(-476.748,0),(-493.876,0),(-493.876,24.263),(-489.119,72.554),(-479.653,120.147),(-465.567,166.582),(-446.997,211.414),(-424.122,254.209),(-397.163,294.556),(-366.379,332.067),(-332.067,366.379),(-294.556,397.163),(-254.209,424.122),(-211.414,446.997),(-166.582,465.567),(-120.147,479.653),(-72.554,489.119),(-24.263,493.876),(24.263,493.876),(72.554,489.119),(120.147,479.653),(166.582,465.567),(211.414,446.997),(254.209,424.122),(294.556,397.163),(332.067,366.379),(366.379,332.067),(397.163,294.556),(424.122,254.209),(446.997,211.414),(465.567,166.582),(479.653,120.147),(489.119,72.554),(493.876,24.263),(493.876,-24.263),(489.119,-72.554),(479.653,-120.147),(465.567,-166.582),(446.997,-211.414),(424.122,-254.209),(397.163,-294.556),(366.379,-332.067),(332.067,-366.379),(294.556,-397.163),(254.209,-424.122),(211.414,-446.997),(166.582,-465.567),(120.147,-479.653),(72.554,-489.119),(24.263,-493.876)])

donut_30 = lib.new_cell('DONUT$30')
P(donut_30, L1_0, [(-25.903,-527.272),(-77.46,-522.194),(-128.271,-512.088),(-177.847,-497.049),(-225.71,-477.223),(-271.399,-452.802),(-314.475,-424.02),(-354.522,-391.154),(-391.154,-354.522),(-424.02,-314.475),(-452.802,-271.399),(-477.223,-225.71),(-497.049,-177.847),(-512.088,-128.271),(-522.194,-77.46),(-527.272,-25.903),(-527.272,0),(-510.708,0),(-505.789,-75.027),(-496,-124.242),(-481.434,-172.26),(-462.231,-218.619),(-438.577,-262.873),(-410.699,-304.595),(-378.866,-343.384),(-343.384,-378.866),(-304.595,-410.699),(-262.873,-438.577),(-218.619,-462.231),(-172.26,-481.434),(-124.242,-496),(-75.027,-505.789),(-25.089,-510.708),(25.089,-510.708),(75.027,-505.789),(124.242,-496),(172.26,-481.434),(218.619,-462.231),(262.873,-438.577),(304.595,-410.699),(343.384,-378.866),(378.866,-343.384),(410.699,-304.595),(438.577,-262.873),(462.231,-218.619),(481.434,-172.26),(496,-124.242),(505.789,-75.027),(510.708,-25.089),(510.708,25.089),(505.789,75.027),(496,124.242),(481.434,172.26),(462.231,218.619),(438.577,262.873),(410.699,304.595),(378.866,343.384),(343.384,378.866),(304.595,410.699),(262.873,438.577),(218.619,462.231),(172.26,481.434),(124.242,496),(75.027,505.789),(25.089,510.708),(-25.089,510.708),(-75.027,505.789),(-124.242,496),(-172.26,481.434),(-218.619,462.231),(-262.873,438.577),(-304.595,410.699),(-343.384,378.866),(-378.866,343.384),(-410.699,304.595),(-438.577,262.873),(-462.231,218.619),(-481.434,172.26),(-496,124.242),(-505.789,75.027),(-510.708,0),(-527.272,0),(-527.272,25.903),(-522.194,77.46),(-512.088,128.271),(-497.049,177.847),(-477.223,225.71),(-452.802,271.399),(-424.02,314.475),(-391.154,354.522),(-354.522,391.154),(-314.475,424.02),(-271.399,452.802),(-225.71,477.223),(-177.847,497.049),(-128.271,512.088),(-77.46,522.194),(-25.903,527.272),(25.903,527.272),(77.46,522.194),(128.271,512.088),(177.847,497.049),(225.71,477.223),(271.399,452.802),(314.475,424.02),(354.522,391.154),(391.154,354.522),(424.02,314.475),(452.802,271.399),(477.223,225.71),(497.049,177.847),(512.088,128.271),(522.194,77.46),(527.272,25.903),(527.272,-25.903),(522.194,-77.46),(512.088,-128.271),(497.049,-177.847),(477.223,-225.71),(452.802,-271.399),(424.02,-314.475),(391.154,-354.522),(354.522,-391.154),(314.475,-424.02),(271.399,-452.802),(225.71,-477.223),(177.847,-497.049),(128.271,-512.088),(77.46,-522.194),(25.903,-527.272)])

circle_1 = lib.new_cell('CIRCLE$1')
P(circle_1, L1_0, [(-5.397,-109.869),(-26.728,-106.704),(-47.031,-99.44),(-65.528,-88.354),(-81.505,-73.872),(-94.351,-56.552),(-103.571,-37.058),(-108.81,-16.14),(-109.869,5.397),(-106.704,26.728),(-99.44,47.031),(-88.354,65.528),(-73.872,81.505),(-56.552,94.351),(-37.058,103.571),(-16.14,108.81),(5.397,109.869),(26.728,106.704),(47.031,99.44),(65.528,88.354),(81.505,73.872),(94.351,56.552),(103.571,37.058),(108.81,16.14),(109.869,-5.397),(106.704,-26.728),(99.44,-47.031),(88.354,-65.528),(73.872,-81.505),(56.552,-94.351),(37.058,-103.571),(16.14,-108.81)])

circle2 = lib.new_cell('circle2')
circle2.add(gdstk.Reference(donut_12, (0,0)))
circle2.add(gdstk.Reference(donut_16, (0,0)))
circle2.add(gdstk.Reference(donut_18, (0,0)))
circle2.add(gdstk.Reference(donut_20, (0,0)))
circle2.add(gdstk.Reference(donut_22, (0,0)))
circle2.add(gdstk.Reference(donut_24, (0,0)))
circle2.add(gdstk.Reference(donut_26, (0,0)))
circle2.add(gdstk.Reference(donut_28, (0,0)))
circle2.add(gdstk.Reference(donut_30, (0,0)))
circle2.add(gdstk.Reference(circle_1, (0,0)))

donut_32 = lib.new_cell('DONUT$32')
P(donut_32, L1_0, [(-7.678,-156.291),(-38.021,-151.79),(-66.903,-141.456),(-93.215,-125.685),(-115.943,-105.085),(-134.217,-80.446),(-147.332,-52.716),(-154.786,-22.96),(-156.291,0),(-109.869,0),(-106.704,-26.728),(-94.351,-56.552),(-81.505,-73.872),(-56.552,-94.351),(-37.058,-103.571),(-5.397,-109.869),(16.14,-108.81),(37.058,-103.571),(65.528,-88.354),(81.505,-73.872),(94.351,-56.552),(106.704,-26.728),(109.869,-5.397),(106.704,26.728),(94.351,56.552),(81.505,73.872),(65.528,88.354),(37.058,103.571),(5.397,109.869),(-26.728,106.704),(-47.031,99.44),(-65.528,88.354),(-88.354,65.528),(-103.571,37.058),(-109.869,0),(-156.291,0),(-156.291,7.678),(-151.79,38.021),(-141.456,66.903),(-125.685,93.215),(-105.085,115.943),(-80.446,134.217),(-52.716,147.332),(-22.96,154.786),(7.678,156.291),(38.021,151.79),(66.903,141.456),(93.215,125.685),(115.943,105.085),(134.217,80.446),(147.332,52.716),(154.786,22.96),(156.291,-7.678),(151.79,-38.021),(141.456,-66.903),(125.685,-93.215),(105.085,-115.943),(80.446,-134.217),(52.716,-147.332),(22.96,-154.786)])

circle3 = lib.new_cell('circle3')
circle3.add(gdstk.Reference(donut, (0,0)))
circle3.add(gdstk.Reference(donut_2, (0,0)))
circle3.add(gdstk.Reference(donut_32, (0,0)))
circle3.add(gdstk.Reference(donut_4, (0,0)))
circle3.add(gdstk.Reference(donut_7, (0,0)))
circle3.add(gdstk.Reference(donut_6, (0,0)))
circle3.add(gdstk.Reference(donut_8, (0,0)))
circle3.add(gdstk.Reference(donut_10, (0,0)))
circle3.add(gdstk.Reference(donut_13, (0,0)))
circle3.add(gdstk.Reference(donut_14, (0,0)))

circle4 = lib.new_cell('circle4')
circle4.add(gdstk.Reference(donut_18, (0,0)))
circle4.add(gdstk.Reference(donut_22, (0,0)))
circle4.add(gdstk.Reference(donut_24, (0,0)))
circle4.add(gdstk.Reference(donut_26, (0,0)))
circle4.add(gdstk.Reference(donut_28, (0,0)))
circle4.add(gdstk.Reference(donut_30, (0,0)))
circle4.add(gdstk.Reference(donut_16, (0,0)))
circle4.add(gdstk.Reference(donut_20, (0,0)))
circle4.add(gdstk.Reference(donut_12, (0,0)))

first = lib.new_cell('first')
P(first, L1_0, [(-101.724,-363.63),(-101.724,-313.63),(-151.724,-313.63),(-151.724,-288.63),(-101.724,-288.63),(-101.724,-238.63),(-76.724,-238.63),(-76.724,-288.63),(-26.724,-288.63),(-26.724,-313.63),(-76.724,-313.63),(-76.724,-363.63)])

full = lib.new_cell('full')
full.add(gdstk.Reference(circle1, (0,3000)))
full.add(gdstk.Reference(circle2, (3000,3000)))
full.add(gdstk.Reference(circle3, (0,0)))
full.add(gdstk.Reference(circle4, (3000,0)))
r = gdstk.Reference(first, (-1415.575,-1213.202)); r.repetition = gdstk.Repetition(3, 3, v1=(3000,0), v2=(0,3000)); full.add(r)

lib.write_gds('full.gds')
